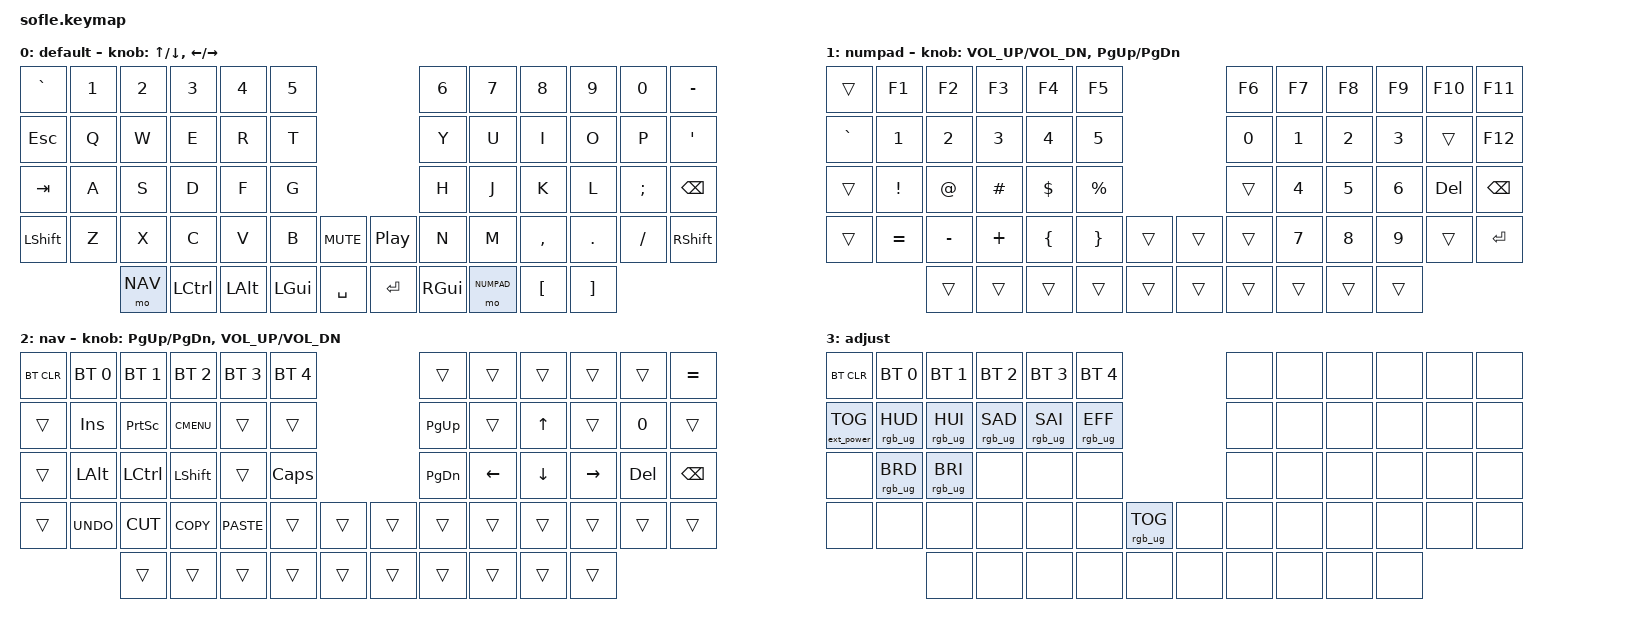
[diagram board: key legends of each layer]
/*
 * Copyright (c) 2020 The ZMK Contributors
 *
 * SPDX-License-Identifier: MIT
 */

#include <behaviors.dtsi>
#include <dt-bindings/zmk/keys.h>
#include <dt-bindings/zmk/bt.h>
#include <dt-bindings/zmk/rgb.h>
#include <dt-bindings/zmk/ext_power.h>

#define BASE 0
#define NUMPAD 1
#define NAV 2

/ {

    keymap {
        compatible = "zmk,keymap";

        default_layer {
            display-name = "default";
// ------------------------------------------------------------------------------------------------------------
// |   `   |  1  |  2  |  3   |  4   |  5   |                   |  6   |  7    |  8    |  9   |   0   |       |
// |  ESC  |  Q  |  W  |  E   |  R   |  T   |                   |  Y   |  U    |  I    |  O   |   P   |   '   |
// |  TAB  |  A  |  S  |  D   |  F   |  G   |                   |  H   |  J    |  K    |  L   |   ;   | BKSPC |
// | SHIFT |  Z  |  X  |  C   |  V   |  B   |  MUTE  |  |  PLAY |  N   |  M    |  ,    |  .   |   /   | SHIFT |
//               | NAV | ALT  | CTRL | CMD  |  ENTER |  | SPACE | CMD  | NUMPAD|  [    |  ]   |
            bindings = <
&kp GRAVE &kp N1 &kp N2   &kp N3   &kp N4    &kp N5                                     &kp N6 &kp N7    &kp N8    &kp N9   &kp N0   &kp MINUS
&kp ESC   &kp Q  &kp W    &kp E    &kp R     &kp T                                      &kp Y  &kp U     &kp I     &kp O    &kp P    &kp SQT
&kp TAB   &kp A  &kp S    &kp D    &kp F     &kp G                                      &kp H  &kp J     &kp K     &kp L    &kp SEMI &kp BSPC
&kp LSHFT &kp Z  &kp X    &kp C    &kp V     &kp B      &kp C_MUTE &kp C_PLAY_PAUSE     &kp N  &kp M     &kp COMMA &kp DOT  &kp FSLH &kp RSHFT
                 &mo NAV   &kp LCTRL &kp LALT &kp LGUI  &kp SPACE    &kp RET  &kp RGUI  &mo NUMPAD &kp LBKT  &kp RBKT
            >;

            sensor-bindings = <&inc_dec_kp UP DOWN &inc_dec_kp LEFT RIGHT>;
        };

        numpad_layer {
            display-name = "numpad";
// TODO: Some binds are waiting for shifted keycode support.
// ------------------------------------------------------------------------------------------------------------
// |       |  F1 |  F2 |  F3  |  F4  |  F5  |                   |  F6  |  F7   |  F8   |  F9  |  F10  |  F11  |
// |   `   |  1  |  2  |  3   |  4   |  5   |                   |  0   |  1    |  2    |  3   |       |  F12  |
// |       |  !  |  @  |  #   |  $   |  %   |                   |      |  4    |  5    |  6   |  DEL  |  trans|
// |       |  =  |  -  |  +   |  {   |  }   |        |  |       |      |  7    |  8    |  9   |       |  ENTER|
//               |     |      |      |      |        |  |       |      |       |       |      |
            bindings = <
&trans    &kp F1    &kp F2    &kp F3      &kp F4    &kp F5                    &kp F6    &kp F7   &kp F8     &kp F9    &kp F10     &kp F11
&kp GRAVE &kp N1    &kp N2    &kp N3      &kp N4    &kp N5                    &kp N0    &kp N1    &kp N2      &kp N3     &trans      &kp F12
&trans    &kp EXCL  &kp AT    &kp HASH    &kp DLLR  &kp PRCNT                 &trans    &kp N4    &kp N5      &kp N6     &kp DEL     &kp BSPC
&trans    &kp EQUAL &kp MINUS &kp PLUS    &kp LBRC  &kp RBRC   &trans &trans  &trans    &kp N7    &kp N8      &kp N9     &trans      &kp RET
                    &trans    &trans      &trans    &trans     &trans &trans  &trans    &trans   &trans     &trans
            >;

            sensor-bindings = <&inc_dec_kp C_VOL_UP C_VOL_DN &inc_dec_kp PG_UP PG_DN>;
        };

        nav_layer {
            display-name = "nav";
// ------------------------------------------------------------------------------------------------------------
// | BTCLR | BT1  | BT2  |  BT3  |  BT4  |  BT5 |                |      |      |       |      |       |       |
// |       | INS  | PSCR | GUI   |       |      |                | PGUP |      |   ^   |      |       |       |
// |       | ALT  | CTRL | SHIFT |       | CAPS |                | PGDN |   <- |   v   |  ->  |  DEL  | BKSPC |
// |       | UNDO | CUT  | COPY  | PASTE |      |      |  |      |      |      |       |      |       |       |
//                |      |       |       |      |      |  |      |      |      |       |      |
            bindings = <
&bt BT_CLR &bt BT_SEL 0 &bt BT_SEL 1 &bt BT_SEL 2 &bt BT_SEL 3 &bt BT_SEL 4                  &trans    &trans    &trans   &trans    &trans  &kp EQUAL
&trans     &kp INS      &kp PSCRN    &kp K_CMENU  &trans       &trans                        &kp PG_UP &trans    &kp UP   &trans    &kp N0  &trans
&trans     &kp LALT     &kp LCTRL    &kp LSHFT    &trans       &kp CLCK                      &kp PG_DN &kp LEFT  &kp DOWN &kp RIGHT &kp DEL &kp BSPC
&trans     &kp K_UNDO   &kp K_CUT    &kp K_COPY   &kp K_PASTE  &trans        &trans  &trans  &trans    &trans    &trans   &trans    &trans  &trans
                        &trans       &trans       &trans       &trans        &trans  &trans  &trans    &trans    &trans   &trans
            >;

            sensor-bindings = <&inc_dec_kp PG_UP PG_DN &inc_dec_kp C_VOL_UP C_VOL_DN>;
        };

        adjust_layer {
// ----------------------------------------------------------------------------------------------------------------------------
// | BTCLR  |  BT1    |  BT2    |   BT3   |   BT4   |   BT5   |                  |      |      |       |      |       |       |
// | EXTPWR | RGB_HUD | RGB_HUI | RGB_SAD | RGB_SAI | RGB_EFF |                  |      |      |       |      |       |       |
// |        | RGB_BRD | RGB_BRI |         |         |         |                  |      |      |       |      |       |       |
// |        |         |         |         |         |         | RGB_TOG | |      |      |      |       |      |       |       |
//                    |         |         |         |         |         | |      |      |      |       |      |
            display-name = "adjust";
            bindings = <
&bt BT_CLR        &bt BT_SEL 0    &bt BT_SEL 1    &bt BT_SEL 2    &bt BT_SEL 3    &bt BT_SEL 4                            &none &none &none &none &none &none
&ext_power EP_TOG &rgb_ug RGB_HUD &rgb_ug RGB_HUI &rgb_ug RGB_SAD &rgb_ug RGB_SAI &rgb_ug RGB_EFF                         &none &none &none &none &none &none
&none             &rgb_ug RGB_BRD &rgb_ug RGB_BRI &none           &none           &none                                   &none &none &none &none &none &none
&none             &none           &none           &none           &none           &none            &rgb_ug RGB_TOG &none  &none &none &none &none &none &none
                                  &none           &none           &none           &none            &none           &none  &none &none &none &none
            >;
        };

    };
};
